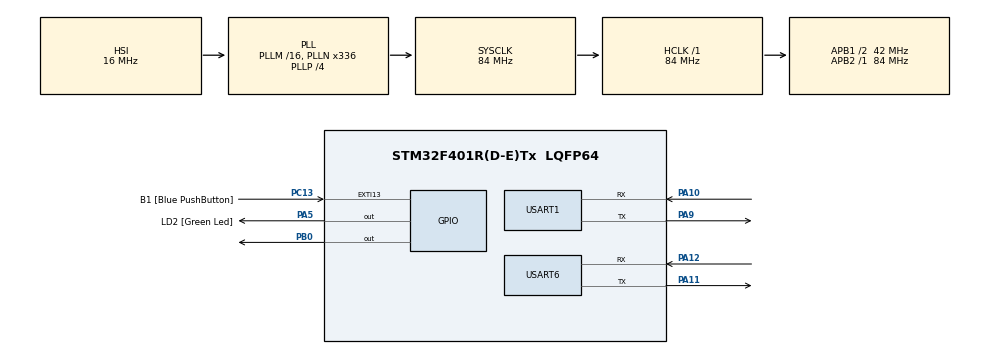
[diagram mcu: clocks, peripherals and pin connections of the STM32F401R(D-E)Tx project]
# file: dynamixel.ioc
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Mcu.Family=STM32F4
Mcu.Name=STM32F401R(D-E)Tx
Mcu.Package=LQFP64
NVIC.PriorityGroup=NVIC_PRIORITYGROUP_0
NVIC.USART1_IRQn=true\:0\:0\:false\:false\:true\:true\:true\:true
NVIC.USART6_IRQn=true\:0\:0\:false\:false\:true\:true\:true\:true
PA10.Mode=Asynchronous
PA10.Signal=USART1_RX
PA11.Mode=Asynchronous
PA11.Signal=USART6_TX
PA12.Mode=Asynchronous
PA12.Signal=USART6_RX
PA13.GPIO_Label=TMS
PA13.Mode=Serial_Wire
PA13.Signal=SYS_JTMS-SWDIO
PA14.GPIO_Label=TCK
PA14.Mode=Serial_Wire
PA14.Signal=SYS_JTCK-SWCLK
PA2.GPIO_Label=USART_TX
PA2.GPIO_Mode=GPIO_MODE_AF_PP
PA2.GPIO_PuPd=GPIO_NOPULL
PA2.GPIO_Speed=GPIO_SPEED_FREQ_LOW
PA2.Signal=USART2_TX
PA3.GPIO_Label=USART_RX
PA3.GPIO_Mode=GPIO_MODE_AF_PP
PA3.GPIO_PuPd=GPIO_NOPULL
PA3.GPIO_Speed=GPIO_SPEED_FREQ_LOW
PA3.Signal=USART2_RX
PA5.GPIO_Label=LD2 [Green Led]
PA5.GPIO_Mode=GPIO_MODE_OUTPUT_PP
PA5.GPIO_PuPd=GPIO_NOPULL
PA5.GPIO_Speed=GPIO_SPEED_FREQ_LOW
PA5.Signal=GPIO_Output
PA9.Mode=Asynchronous
PA9.Signal=USART1_TX
PB0.Signal=GPIO_Output
PB3.GPIO_Label=SWO
PB3.Signal=SYS_JTDO-SWO
PC13-ANTI_TAMP.GPIO_Label=B1 [Blue PushButton]
PC13-ANTI_TAMP.GPIO_ModeDefaultEXTI=GPIO_MODE_IT_FALLING
PC13-ANTI_TAMP.GPIO_PuPd=GPIO_NOPULL
PC13-ANTI_TAMP.Signal=GPXTI13
PC14-OSC32_IN.Mode=LSE-External-Oscillator
PC14-OSC32_IN.Signal=RCC_OSC32_IN
PC15-OSC32_OUT.Mode=LSE-External-Oscillator
PC15-OSC32_OUT.Signal=RCC_OSC32_OUT
PH0\ -\ OSC_IN.Mode=HSE-External-Clock-Source
PH0\ -\ OSC_IN.Signal=RCC_OSC_IN
PH1\ -\ OSC_OUT.Mode=HSE-External-Clock-Source
PH1\ -\ OSC_OUT.Signal=RCC_OSC_OUT
ProjectManager.HeapSize=0x200
ProjectManager.StackSize=0x400
ProjectManager.TargetToolchain=STM32CubeIDE
RCC.48MHZClocksFreq_Value=48000000
RCC.AHBFreq_Value=84000000
RCC.APB1CLKDivider=RCC_HCLK_DIV2
RCC.APB1Freq_Value=42000000
RCC.APB1TimFreq_Value=84000000
RCC.APB2Freq_Value=84000000
RCC.APB2TimFreq_Value=84000000
RCC.CortexFreq_Value=84000000
RCC.HCLKFreq_Value=84000000
RCC.HSE_VALUE=8000000
RCC.HSI_VALUE=16000000
RCC.PLLN=336
RCC.PLLP=RCC_PLLP_DIV4
RCC.PLLQ=7
RCC.SYSCLKFreq_VALUE=84000000
RCC.SYSCLKSource=RCC_SYSCLKSOURCE_PLLCLK
RCC.VCOOutputFreq_Value=336000000
USART1.VirtualMode=VM_ASYNC
USART6.VirtualMode=VM_ASYNC
board=NUCLEO-F401RE

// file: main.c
/* USER CODE BEGIN Header */
/**
  ******************************************************************************
  * @file           : main.c
  * @brief          : Main program body
  ******************************************************************************
  * @attention
  *
  * Copyright (c) 2026 STMicroelectronics.
  * All rights reserved.
  *
  * This software is licensed under terms that can be found in the LICENSE file
  * in the root directory of this software component.
  * If no LICENSE file comes with this software, it is provided AS-IS.
  *
  ******************************************************************************
  */
/* USER CODE END Header */
#include "main.h"

/* USER CODE BEGIN Includes */
#include <stdint.h>
#include "app.h"
/* USER CODE END Includes */

/* USER CODE BEGIN PTD */
typedef enum {
  DXL_DIAG_OK = 0,
  DXL_DIAG_TX_FAIL,
  DXL_DIAG_RX_TIMEOUT,
  DXL_DIAG_BAD_HEADER,
  DXL_DIAG_BAD_ID,
  DXL_DIAG_BAD_LENGTH,
  DXL_DIAG_BAD_CHECKSUM
} DXL_DiagStatus;

/* USER CODE END PTD */

/* USER CODE BEGIN PD */
#define INST_PING             0x01
#define INST_READ             0x02
#define INST_WRITE            0x03

#define ADDR_TORQUE_ENABLE    24
#define ADDR_GOAL_POSITION    30
#define ADDR_MOVING_SPEED     32
#define ADDR_PRESENT_POS      36

#define TORQUE_ON             1
#define TORQUE_OFF            0

#define DXL_MIN_POS           0
#define DXL_MAX_POS           1023

#define MICRO_DELTA           8
#define TEST_SPEED            40
#define MOVE_WAIT_MS          500
/* USER CODE END PD */

/* USER CODE BEGIN PM */
#define DXL_TX_ENABLE()       HAL_GPIO_WritePin(DXL_DIR_GPIO_Port, DXL_DIR_Pin, GPIO_PIN_SET)
#define DXL_TX_DISABLE()      HAL_GPIO_WritePin(DXL_DIR_GPIO_Port, DXL_DIR_Pin, GPIO_PIN_RESET)
/* USER CODE END PM */

UART_HandleTypeDef huart1;
UART_HandleTypeDef huart6;

/* USER CODE BEGIN PV */
static const uint8_t test_ids[] = {
  1
//  2, 4, 5, 7, 8, 10, 11, 13, 14, 16, 17
};
static const uint8_t scan_ids[] = {
  0, 1, 2, 3, 4, 5, 6, 7, 8, 9, 10, 11, 12, 13, 14, 15, 16, 17
};
/* USER CODE END PV */

void SystemClock_Config(void);
static void MX_GPIO_Init(void);
static void MX_USART1_UART_Init(void);
static void MX_USART6_UART_Init(void);
/* USER CODE BEGIN PFP */
static uint8_t dxl_checksum(uint8_t id, uint8_t length, uint8_t instruction, uint8_t *params);
static uint8_t dxl_status_checksum(uint8_t *status, uint8_t packet_len);
static void dxl_flush_rx(void);
static HAL_StatusTypeDef dxl_send_packet(uint8_t id, uint8_t instruction, uint8_t *params, uint8_t param_len);
static HAL_StatusTypeDef dxl_receive_exact(uint8_t *buffer, uint8_t len, uint32_t timeout_ms);
static DXL_DiagStatus dxl_ping_diag(uint8_t id);
static DXL_DiagStatus dxl_scan_read_diag(uint8_t *found_id);
static HAL_StatusTypeDef dxl_write_1byte(uint8_t id, uint8_t address, uint8_t value);
static HAL_StatusTypeDef dxl_write_2byte(uint8_t id, uint8_t address, uint16_t value);
static HAL_StatusTypeDef dxl_read_2byte(uint8_t id, uint8_t address, uint16_t *out_value);
static uint16_t clamp_position(int32_t pos);
static void DXL_ShowDiagStatus(DXL_DiagStatus status);
static void dxl_micro_rotate_test_one(uint8_t id);
static void DXL_RunMicroRotationTest(void);
/* USER CODE END PFP */

/* USER CODE BEGIN 0 */
static uint8_t dxl_checksum(uint8_t id, uint8_t length, uint8_t instruction, uint8_t *params)
{
  uint16_t sum = id + length + instruction;

  for (uint8_t i = 0; i < length - 2; i++) {
    sum += params[i];
  }

  return (uint8_t)(~sum);
}

static uint8_t dxl_status_checksum(uint8_t *status, uint8_t packet_len)
{
  uint16_t sum = 0;

  for (uint8_t i = 2; i < packet_len - 1; i++) {
    sum += status[i];
  }

  return (uint8_t)(~sum);
}

static void dxl_flush_rx(void)
{
  __HAL_UART_CLEAR_OREFLAG(&huart6);

  while (__HAL_UART_GET_FLAG(&huart6, UART_FLAG_RXNE) != RESET) {
    (void)huart6.Instance->DR;
  }
}

static HAL_StatusTypeDef dxl_send_packet(uint8_t id, uint8_t instruction, uint8_t *params, uint8_t param_len)
{
  uint8_t packet[32];
  uint8_t length = param_len + 2;

  packet[0] = 0xFF;
  packet[1] = 0xFF;
  packet[2] = id;
  packet[3] = length;
  packet[4] = instruction;

  for (uint8_t i = 0; i < param_len; i++) {
    packet[5 + i] = params[i];
  }

  packet[5 + param_len] = dxl_checksum(id, length, instruction, params);

  DXL_TX_ENABLE();
  HAL_Delay(1);

  HAL_StatusTypeDef ret = HAL_UART_Transmit(&huart6, packet, 6 + param_len, 100);

  uint32_t tickstart = HAL_GetTick();
  while (__HAL_UART_GET_FLAG(&huart6, UART_FLAG_TC) == RESET) {
    if ((HAL_GetTick() - tickstart) > 100) {
      DXL_TX_DISABLE();
      return HAL_TIMEOUT;
    }
  }

  DXL_TX_DISABLE();

  return ret;
}

static HAL_StatusTypeDef dxl_receive_exact(uint8_t *buffer, uint8_t len, uint32_t timeout_ms)
{
  for (uint8_t i = 0; i < len; i++) {
    if (HAL_UART_Receive(&huart6, &buffer[i], 1, timeout_ms) != HAL_OK) {
      return HAL_TIMEOUT;
    }
  }

  return HAL_OK;
}

static DXL_DiagStatus dxl_ping_diag(uint8_t id)
{
  uint8_t status[6];

  if (dxl_send_packet(id, INST_PING, NULL, 0) != HAL_OK) {
    return DXL_DIAG_TX_FAIL;
  }

  if (dxl_receive_exact(status, sizeof(status), 100) != HAL_OK) {
    return DXL_DIAG_RX_TIMEOUT;
  }

  if (status[0] != 0xFF || status[1] != 0xFF) {
    return DXL_DIAG_BAD_HEADER;
  }

  if (status[2] != id) {
    return DXL_DIAG_BAD_ID;
  }

  if (status[3] != 0x02) {
    return DXL_DIAG_BAD_LENGTH;
  }

  if (status[5] != dxl_status_checksum(status, sizeof(status))) {
    return DXL_DIAG_BAD_CHECKSUM;
  }

  return DXL_DIAG_OK;
}

static DXL_DiagStatus dxl_scan_read_diag(uint8_t *found_id)
{
  uint16_t present_pos;

  for (uint8_t i = 0; i < sizeof(scan_ids); i++) {
    if (dxl_read_2byte(scan_ids[i], ADDR_PRESENT_POS, &present_pos) == HAL_OK) {
      *found_id = scan_ids[i];
      return DXL_DIAG_OK;
    }
  }

  return DXL_DIAG_RX_TIMEOUT;
}

static HAL_StatusTypeDef dxl_write_1byte(uint8_t id, uint8_t address, uint8_t value)
{
  uint8_t params[2];

  params[0] = address;
  params[1] = value;

  return dxl_send_packet(id, INST_WRITE, params, 2);
}

static HAL_StatusTypeDef dxl_write_2byte(uint8_t id, uint8_t address, uint16_t value)
{
  uint8_t params[3];

  params[0] = address;
  params[1] = value & 0xFF;
  params[2] = (value >> 8) & 0xFF;

  return dxl_send_packet(id, INST_WRITE, params, 3);
}

static HAL_StatusTypeDef dxl_read_2byte(uint8_t id, uint8_t address, uint16_t *out_value)
{
  uint8_t params[2];
  uint8_t status[8];

  params[0] = address;
  params[1] = 2;

  if (dxl_send_packet(id, INST_READ, params, 2) != HAL_OK) {
    return HAL_ERROR;
  }

  if (HAL_UART_Receive(&huart6, status, sizeof(status), 100) != HAL_OK) {
    return HAL_ERROR;
  }

  if (status[0] != 0xFF || status[1] != 0xFF || status[2] != id) {
    return HAL_ERROR;
  }

  *out_value = status[5] | ((uint16_t)status[6] << 8);

  return HAL_OK;
}

static uint16_t clamp_position(int32_t pos)
{
  if (pos < DXL_MIN_POS) {
    return DXL_MIN_POS;
  }

  if (pos > DXL_MAX_POS) {
    return DXL_MAX_POS;
  }

  return (uint16_t)pos;
}

static void DXL_ShowDiagStatus(DXL_DiagStatus status)
{
  if (status == DXL_DIAG_OK) {
    HAL_GPIO_TogglePin(LD2_GPIO_Port, LD2_Pin);
    HAL_Delay(500);
  } else {
    uint8_t pulses = (uint8_t)status;

    for (uint8_t i = 0; i < pulses; i++) {
      HAL_GPIO_TogglePin(LD2_GPIO_Port, LD2_Pin);
      HAL_Delay(100);
      HAL_GPIO_TogglePin(LD2_GPIO_Port, LD2_Pin);
      HAL_Delay(100);
    }

    HAL_Delay(700);
  }
}

static void dxl_micro_rotate_test_one(uint8_t id)
{
	dxl_write_1byte(id, ADDR_TORQUE_ENABLE, TORQUE_ON);
  HAL_Delay(100);

  dxl_write_2byte(id, ADDR_MOVING_SPEED, 100);
  HAL_Delay(100);

  dxl_write_2byte(id, ADDR_GOAL_POSITION, 300);
  HAL_Delay(2000);

  dxl_write_2byte(id, ADDR_GOAL_POSITION, 700);
  HAL_Delay(2000);

  dxl_write_2byte(id, ADDR_GOAL_POSITION, 300);
  HAL_Delay(2000);

//  dxl_write_1byte(id, ADDR_TORQUE_ENABLE, TORQUE_OFF);
//  HAL_Delay(100);
}

static void DXL_RunMicroRotationTest(void)
{
  for (uint8_t i = 0; i < sizeof(test_ids); i++) {
    dxl_micro_rotate_test_one(test_ids[i]);
    HAL_Delay(200);
  }
}
/* USER CODE END 0 */

int main(void)
{

  /* MCU Configuration--------------------------------------------------------*/

  /* Reset of all peripherals, Initializes the Flash interface and the Systick. */
  HAL_Init();

  /* Configure the system clock */
  SystemClock_Config();

  /* Initialize all configured peripherals */
  MX_GPIO_Init();
  MX_USART1_UART_Init();
  MX_USART6_UART_Init();
  /* USER CODE BEGIN 2 */
  App_Init();
  /* USER CODE END 2 */

  /* Infinite loop */
  while (1)
  {

    /* USER CODE BEGIN 3 */
    App_Loop();
  }
  /* USER CODE END 3 */
}

void SystemClock_Config(void)
{
  RCC_OscInitTypeDef RCC_OscInitStruct = {0};
  RCC_ClkInitTypeDef RCC_ClkInitStruct = {0};

  /** Configure the main internal regulator output voltage
  */
  __HAL_RCC_PWR_CLK_ENABLE();
  __HAL_PWR_VOLTAGESCALING_CONFIG(PWR_REGULATOR_VOLTAGE_SCALE2);

  /** Initializes the RCC Oscillators according to the specified parameters
  * in the RCC_OscInitTypeDef structure.
  */
  RCC_OscInitStruct.OscillatorType = RCC_OSCILLATORTYPE_HSI;
  RCC_OscInitStruct.HSIState = RCC_HSI_ON;
  RCC_OscInitStruct.HSICalibrationValue = RCC_HSICALIBRATION_DEFAULT;
  RCC_OscInitStruct.PLL.PLLState = RCC_PLL_ON;
  RCC_OscInitStruct.PLL.PLLSource = RCC_PLLSOURCE_HSI;
  RCC_OscInitStruct.PLL.PLLM = 16;
  RCC_OscInitStruct.PLL.PLLN = 336;
  RCC_OscInitStruct.PLL.PLLP = RCC_PLLP_DIV4;
  RCC_OscInitStruct.PLL.PLLQ = 7;
  if (HAL_RCC_OscConfig(&RCC_OscInitStruct) != HAL_OK)
  {
    Error_Handler();
  }

  /** Initializes the CPU, AHB and APB buses clocks
  */
  RCC_ClkInitStruct.ClockType = RCC_CLOCKTYPE_HCLK|RCC_CLOCKTYPE_SYSCLK
                              |RCC_CLOCKTYPE_PCLK1|RCC_CLOCKTYPE_PCLK2;
  RCC_ClkInitStruct.SYSCLKSource = RCC_SYSCLKSOURCE_PLLCLK;
  RCC_ClkInitStruct.AHBCLKDivider = RCC_SYSCLK_DIV1;
  RCC_ClkInitStruct.APB1CLKDivider = RCC_HCLK_DIV2;
  RCC_ClkInitStruct.APB2CLKDivider = RCC_HCLK_DIV1;

  if (HAL_RCC_ClockConfig(&RCC_ClkInitStruct, FLASH_LATENCY_2) != HAL_OK)
  {
    Error_Handler();
  }
}

static void MX_USART1_UART_Init(void)
{

  huart1.Instance = USART1;
  huart1.Init.BaudRate = 115200;
  huart1.Init.WordLength = UART_WORDLENGTH_8B;
  huart1.Init.StopBits = UART_STOPBITS_1;
  huart1.Init.Parity = UART_PARITY_NONE;
  huart1.Init.Mode = UART_MODE_TX_RX;
  huart1.Init.HwFlowCtl = UART_HWCONTROL_NONE;
  huart1.Init.OverSampling = UART_OVERSAMPLING_16;
  if (HAL_UART_Init(&huart1) != HAL_OK)
  {
    Error_Handler();
  }

}

static void MX_USART6_UART_Init(void)
{

  huart6.Instance = USART6;
  huart6.Init.BaudRate = 115200;
  huart6.Init.WordLength = UART_WORDLENGTH_8B;
  huart6.Init.StopBits = UART_STOPBITS_1;
  huart6.Init.Parity = UART_PARITY_NONE;
  huart6.Init.Mode = UART_MODE_TX_RX;
  huart6.Init.HwFlowCtl = UART_HWCONTROL_NONE;
  huart6.Init.OverSampling = UART_OVERSAMPLING_16;
  if (HAL_UART_Init(&huart6) != HAL_OK)
  {
    Error_Handler();
  }

}

static void MX_GPIO_Init(void)
{
  GPIO_InitTypeDef GPIO_InitStruct = {0};

  /* GPIO Ports Clock Enable */
  __HAL_RCC_GPIOC_CLK_ENABLE();
  __HAL_RCC_GPIOH_CLK_ENABLE();
  __HAL_RCC_GPIOA_CLK_ENABLE();
  __HAL_RCC_GPIOB_CLK_ENABLE();

  /*Configure GPIO pin Output Level */
  HAL_GPIO_WritePin(LD2_GPIO_Port, LD2_Pin, GPIO_PIN_RESET);

  /*Configure GPIO pin Output Level */
  HAL_GPIO_WritePin(GPIOB, GPIO_PIN_0, GPIO_PIN_RESET);

  /*Configure GPIO pin : B1_Pin */
  GPIO_InitStruct.Pin = B1_Pin;
  GPIO_InitStruct.Mode = GPIO_MODE_IT_FALLING;
  GPIO_InitStruct.Pull = GPIO_NOPULL;
  HAL_GPIO_Init(B1_GPIO_Port, &GPIO_InitStruct);

  /*Configure GPIO pins : USART_TX_Pin USART_RX_Pin */
  GPIO_InitStruct.Pin = USART_TX_Pin|USART_RX_Pin;
  GPIO_InitStruct.Mode = GPIO_MODE_AF_PP;
  GPIO_InitStruct.Pull = GPIO_NOPULL;
  GPIO_InitStruct.Speed = GPIO_SPEED_FREQ_LOW;
  GPIO_InitStruct.Alternate = GPIO_AF7_USART2;
  HAL_GPIO_Init(GPIOA, &GPIO_InitStruct);

  /*Configure GPIO pin : LD2_Pin */
  GPIO_InitStruct.Pin = LD2_Pin;
  GPIO_InitStruct.Mode = GPIO_MODE_OUTPUT_PP;
  GPIO_InitStruct.Pull = GPIO_NOPULL;
  GPIO_InitStruct.Speed = GPIO_SPEED_FREQ_LOW;
  HAL_GPIO_Init(LD2_GPIO_Port, &GPIO_InitStruct);

  /*Configure GPIO pin : PB0 */
  GPIO_InitStruct.Pin = GPIO_PIN_0;
  GPIO_InitStruct.Mode = GPIO_MODE_OUTPUT_PP;
  GPIO_InitStruct.Pull = GPIO_NOPULL;
  GPIO_InitStruct.Speed = GPIO_SPEED_FREQ_LOW;
  HAL_GPIO_Init(GPIOB, &GPIO_InitStruct);

/* USER CODE BEGIN MX_GPIO_Init_2 */
  HAL_GPIO_WritePin(DXL_DIR_GPIO_Port, DXL_DIR_Pin, GPIO_PIN_RESET);

  GPIO_InitStruct.Pin = DXL_DIR_Pin;
  GPIO_InitStruct.Mode = GPIO_MODE_OUTPUT_PP;
  GPIO_InitStruct.Pull = GPIO_NOPULL;
  GPIO_InitStruct.Speed = GPIO_SPEED_FREQ_HIGH;
  HAL_GPIO_Init(DXL_DIR_GPIO_Port, &GPIO_InitStruct);

/* USER CODE END MX_GPIO_Init_2 */
}

void Error_Handler(void)
{
  /* USER CODE BEGIN Error_Handler_Debug */
  /* User can add his own implementation to report the HAL error return state */
  while (1)
  {
    HAL_GPIO_TogglePin(LD2_GPIO_Port, LD2_Pin);
    for (volatile uint32_t i = 0; i < 500000; i++) {
    }
  }
  /* USER CODE END Error_Handler_Debug */
}
